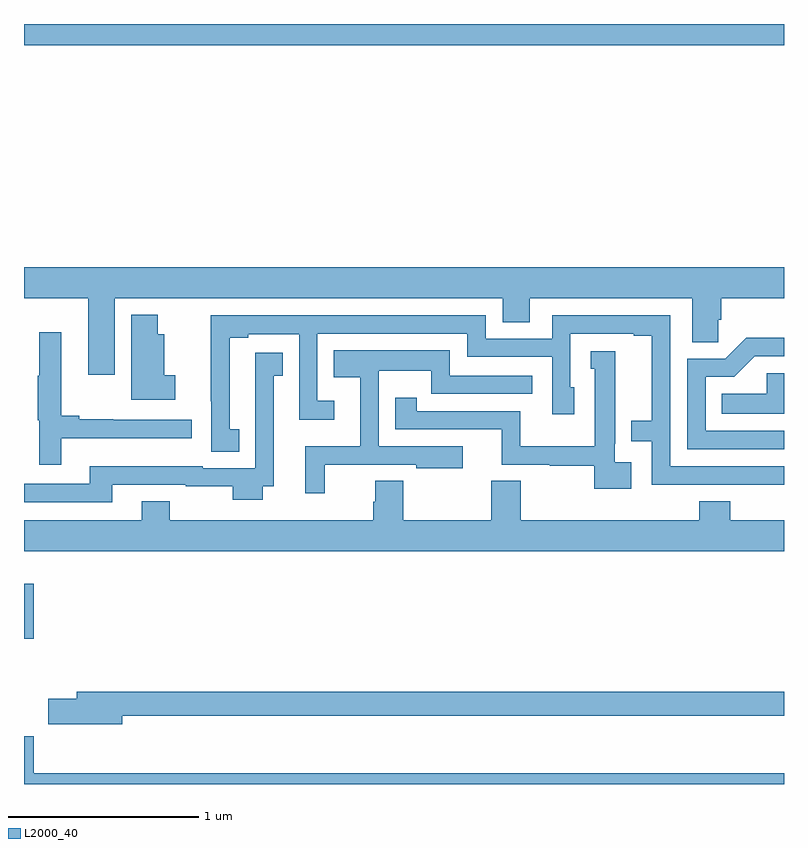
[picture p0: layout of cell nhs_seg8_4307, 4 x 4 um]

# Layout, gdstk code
import gdstk
lib = gdstk.Library(unit=1e-6, precision=1e-09)
def R(c, l, rs):  # rectangles x0, y0, x1, y1
    for r in rs: c.add(gdstk.rectangle(r[:2], r[2:], *l))
def P(c, l, *ps):  # polygons
    for p in ps: c.add(gdstk.Polygon(p, *l))
L2000_40 = (2000, 40)

nhs_seg8_4307 = lib.new_cell('nhs_seg8_4307')
R(nhs_seg8_4307, L2000_40, [(373,1158.665,373.052,1158.955), (373,1161.788,377,1161.9)])
P(nhs_seg8_4307, L2000_40, [(373,1160.456),(373.337,1160.456),(373.337,1160.055),(373.477,1160.055),(373.477,1160.456),(375.521,1160.456),(375.521,1160.329),(375.661,1160.329),(375.661,1160.456),(376.517,1160.456),(376.517,1160.224),(376.655,1160.224),(376.655,1160.344),(376.67,1160.344),(376.67,1160.456),(377,1160.456),(377,1160.62),(373,1160.62)],
  [(373.795,1160.052),(373.738,1160.052),(373.738,1160.266),(373.705,1160.266),(373.705,1160.371),(373.565,1160.371),(373.565,1159.922),(373.795,1159.922)],
  [(377,1159.572),(376.401,1159.572),(376.401,1160.367),(375.78,1160.367),(375.78,1160.244),(375.429,1160.244),(375.429,1160.367),(374.441,1160.367),(374.441,1160.368),(373.984,1160.368),(373.984,1159.915),(373.986,1159.915),(373.986,1159.648),(374.132,1159.648),(374.132,1159.767),(374.083,1159.767),(374.083,1160.25),(374.179,1160.25),(374.179,1160.267),(374.448,1160.267),(374.448,1159.817),(374.632,1159.817),(374.632,1159.918),(374.544,1159.918),(374.544,1160.271),(375.333,1160.271),(375.333,1160.148),(375.78,1160.148),(375.78,1159.845),(375.895,1159.845),(375.895,1159.989),(375.876,1159.989),(375.876,1160.271),(376.208,1160.271),(376.208,1160.259),(376.304,1160.259),(376.304,1159.813),(376.196,1159.813),(376.196,1159.704),(376.305,1159.704),(376.305,1159.476),(376.801,1159.476),(376.801,1159.475),(377,1159.475)],
  [(373.195,1159.721),(373.882,1159.721),(373.882,1159.818),(373.469,1159.818),(373.469,1159.821),(373.291,1159.821),(373.291,1159.838),(373.195,1159.838),(373.195,1160.278),(373.079,1160.278),(373.079,1160.048),(373.072,1160.048),(373.072,1159.815),(373.079,1159.815),(373.079,1159.581),(373.195,1159.581)],
  [(377,1159.758),(376.587,1159.758),(376.587,1160.043),(376.738,1160.043),(376.846,1160.151),(377,1160.151),(377,1160.249),(376.802,1160.249),(376.692,1160.139),(376.491,1160.139),(376.491,1159.662),(377,1159.662)],
  [(374.582,1159.581),(375.065,1159.581),(375.065,1159.562),(375.31,1159.562),(375.31,1159.677),(374.868,1159.677),(374.868,1160.075),(375.144,1160.075),(375.144,1159.954),(375.247,1159.954),(375.247,1159.953),(375.676,1159.953),(375.676,1160.049),(375.24,1160.049),(375.24,1160.182),(374.629,1160.182),(374.629,1160.042),(374.771,1160.042),(374.771,1159.678),(374.48,1159.678),(374.48,1159.431),(374.582,1159.431)],
  [(376.195,1159.594),(376.11,1159.594),(376.11,1159.69),(376.111,1159.69),(376.111,1160.178),(375.983,1160.178),(375.983,1160.085),(376.004,1160.085),(376.004,1159.678),(375.613,1159.678),(375.613,1159.863),(375.066,1159.863),(375.066,1159.933),(374.953,1159.933),(374.953,1159.767),(375.515,1159.767),(375.515,1159.581),(375.768,1159.581),(375.768,1159.576),(376.002,1159.576),(376.002,1159.454),(376.195,1159.454)],
  [(373.465,1159.476),(373.851,1159.476),(373.851,1159.466),(374.098,1159.466),(374.098,1159.397),(374.257,1159.397),(374.257,1159.467),(374.314,1159.467),(374.314,1160.049),(374.363,1160.049),(374.363,1160.17),(374.216,1160.17),(374.216,1159.846),(374.217,1159.846),(374.217,1159.563),(373.941,1159.563),(373.941,1159.573),(373.346,1159.573),(373.346,1159.479),(373,1159.479),(373,1159.383),(373.465,1159.383)],
  [(377,1160.062),(376.91,1160.062),(376.91,1159.954),(376.672,1159.954),(376.672,1159.85),(377,1159.85)],
  [(377,1159.288),(376.718,1159.288),(376.718,1159.387),(376.553,1159.387),(376.553,1159.288),(375.615,1159.288),(375.615,1159.496),(375.46,1159.496),(375.46,1159.288),(374.997,1159.288),(374.997,1159.496),(374.849,1159.496),(374.849,1159.386),(374.837,1159.386),(374.837,1159.288),(373.767,1159.288),(373.767,1159.387),(373.619,1159.387),(373.619,1159.288),(373,1159.288),(373,1159.124),(377,1159.124)],
  [(373.516,1158.258),(377,1158.258),(377,1158.386),(373.277,1158.386),(373.277,1158.35),(373.128,1158.35),(373.128,1158.215),(373.516,1158.215)],
  [(377,1157.956),(373.052,1157.956),(373.052,1158.151),(373,1158.151),(373,1157.9),(377,1157.9)])

lib.write_gds('nhs_seg8_4307.gds')
